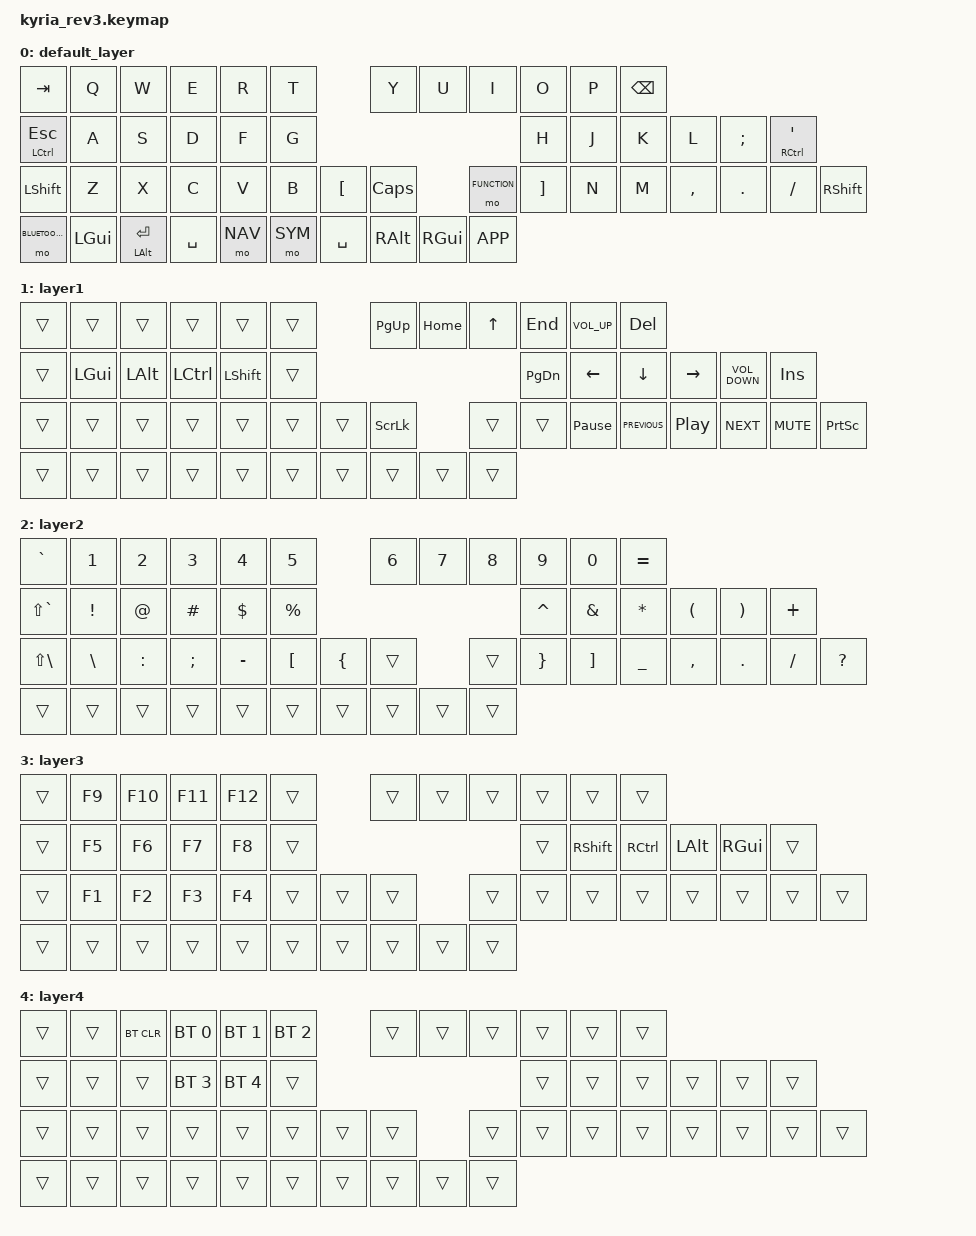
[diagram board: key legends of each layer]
/*
 * Copyright (c) 2023 The ZMK Contributors
 *
 * SPDX-License-Identifier: MIT
 */

#include <behaviors.dtsi>
#include <dt-bindings/zmk/bt.h>
#include <dt-bindings/zmk/keys.h>

#define DEFAULT 0
#define NAV 1
#define SYM 2
#define FUNCTION 3
#define BLUETOOTH 4

/* Uncomment this block if using RGB
&led_strip {
    chain-length = <6>;
    // chain-length = <31>; // Uncomment if using both per-key and underglow LEDs
    // chain-length = <25>; // Uncomment if using only per-key LEDs.
};
 */

/ {
    keymap {
        compatible = "zmk,keymap";

        default_layer {
            // ---------------------------------------------------------------------------------------------------------------------------------
            // |  TAB  |  Q  |  W  |  E   |  R   |  T   |                                          |  Y   |  U    |  I    |  O   |   P   |   BSPC  |
            // |  LCTRL ESC  |  A  |  S  |  D   |  F   |  G   |                                          |  H   |  J    |  K    |  L   |   ;   |   '(CTRL)|
            // | LShift |  Z  |  X  |  C   |  V   |  B   | L BCKT | L SHIFT |  | LAYER 1 | R BCKT |  N   |  M    |  ,    |  .   |   /   | RSHIFT |
            //                     | GUI  | LGUI  | LALT RET  |  SPACE  |   ESC   |  |   SYM   |  SPACE  | AltGr  | RGUI  | Menu |
            bindings = <
            &kp TAB   &kp Q &kp W &kp E &kp R &kp T                                                  &kp Y &kp U  &kp I     &kp O   &kp P    &kp BSPC
            &mt LCTRL ESC &kp A &kp S &kp D &kp F &kp G                                               &kp H &kp J  &kp K     &kp L   &kp SEMI &mt RCTRL SQT
            &kp LSHIFT &kp Z &kp X &kp C &kp V &kp B &kp LBKT &kp CAPS            &mo FUNCTION &kp RBKT &kp N &kp M  &kp COMMA &kp DOT &kp FSLH &kp RSHIFT
                                  &mo BLUETOOTH &kp LGUI &mt LALT RET &kp SPACE &mo NAV       &mo SYM &kp SPACE &kp RALT &kp RGUI &kp K_APP
            >;
        };
        layer1 {
            // ---------------------------------------------------------------------------------------------------------------------------------
            // |       |      |      |      |      |      |                                         |      |      |      |      |      |      |
            // |       |LEFT_GUI|LALT|LCTRL|LEFT_SHIFT|      |                                         |PAGE_DOWN|LEFT|DOWN|RIGHT|C_VOLUME_DOWN|INSERT|
            // |       |      |      |      |      |      |      |      |      |      |      |      |      |      |      |      |      |      |
            //                       |      |      |      |      |      |      |      |      |      |      |      |      |
          bindings = <
          &trans &trans &trans &trans &trans &trans &kp PAGE_UP &kp HOME &kp UP &kp END &kp C_VOLUME_UP &kp DELETE 
          &trans &kp LEFT_GUI &kp LEFT_ALT &kp LEFT_CONTROL &kp LEFT_SHIFT &trans &kp PAGE_DOWN &kp LEFT &kp DOWN &kp RIGHT &kp C_VOLUME_DOWN &kp INSERT 
          &trans &trans &trans &trans &trans &trans &trans &kp SCROLLLOCK &trans &trans &kp PAUSE_BREAK &kp C_PREVIOUS &kp C_PLAY_PAUSE &kp C_NEXT &kp C_MUTE &kp PRINTSCREEN 
          &trans &trans &trans &trans &trans &trans &trans &trans &trans &trans
          >;
        };
        layer2 {
            // ---------------------------------------------------------------------------------------------------------------------------------
            // |       |      |      |      |      |      |                                         |      |      |      |      |      |      |
            // |       |      |      |      |      |      |                                         |      |      |      |      |      |      |
            // |       |      |      |      |      |      |      |      |      |      |      |      |      |      |      |      |      |      |
            //                       |      |      |      |      |      |      |      |      |      |      |      |      |
          bindings = <
          &kp GRAVE &kp N1 &kp N2 &kp N3 &kp N4 &kp N5 &kp N6 &kp N7 &kp N8 &kp N9 &kp N0 &kp EQUAL 
          &kp LS(GRAVE) &kp EXCL &kp AT &kp HASH &kp DLLR &kp PERCENT &kp CARET &kp AMPERSAND &kp ASTERISK &kp LPAR &kp RPAR &kp PLUS 
          &kp LS(BACKSLASH) &kp BACKSLASH &kp COLON &kp SEMICOLON &kp MINUS &kp LEFT_BRACKET &kp LEFT_BRACE &trans &trans &kp RIGHT_BRACE &kp RIGHT_BRACKET &kp UNDERSCORE &kp COMMA &kp DOT &kp SLASH &kp QUESTION
          &trans &trans &trans &trans &trans &trans &trans &trans &trans &trans
          >;
        };
        layer3 {
            // ---------------------------------------------------------------------------------------------------------------------------------
            // |       |      |      |      |      |      |                                         |      |      |      |      |      |      |
            // |       |      |      |      |      |      |                                         |      |      |      |      |      |      |
            // |       |      |      |      |      |      |      |      |      |      |      |      |      |      |      |      |      |      |
            //                       |      |      |      |      |      |      |      |      |      |      |      |      |
          bindings = <
          &trans &kp F9 &kp F10 &kp F11 &kp F12 &trans &trans &trans &trans &trans &trans &trans 
          &trans &kp F5 &kp F6 &kp F7 &kp F8 &trans &trans &kp RIGHT_SHIFT &kp RIGHT_CONTROL &kp LEFT_ALT &kp RIGHT_GUI &trans 
          &trans &kp F1 &kp F2 &kp F3 &kp F4 &trans &trans &trans &trans &trans &trans &trans &trans &trans &trans &trans 
          &trans &trans &trans &trans &trans &trans &trans &trans &trans &trans
          >;
        };
        layer4 {
            // ---------------------------------------------------------------------------------------------------------------------------------
            // |       |      |BT_CLR|BTSEL0|BTSEL1|BTSEL2|                                         |      |      |      |      |      |      |
            // |       |      |      |BTSEL3|BTSEL4|      |                                         |      |      |      |      |      |      |
            // |       |      |      |      |      |      |      |      |      |      |      |      |      |      |      |      |      |      |
            //                       |      |      |      |      |      |      |      |      |      |      |      |      |
            bindings = <
            &trans &trans &bt BT_CLR &bt BT_SEL 0 &bt BT_SEL 1 &bt BT_SEL 2              &trans &trans &trans &trans &trans &trans
            &trans &trans &trans     &bt BT_SEL 3 &bt BT_SEL 4 &trans                    &trans &trans &trans &trans &trans &trans
            &trans &trans &trans &trans &trans &trans &trans &trans        &trans &trans &trans &trans &trans &trans &trans &trans
                                 &trans &trans &trans &trans &trans        &trans &trans &trans &trans &trans
            >;
        };
    };
};
